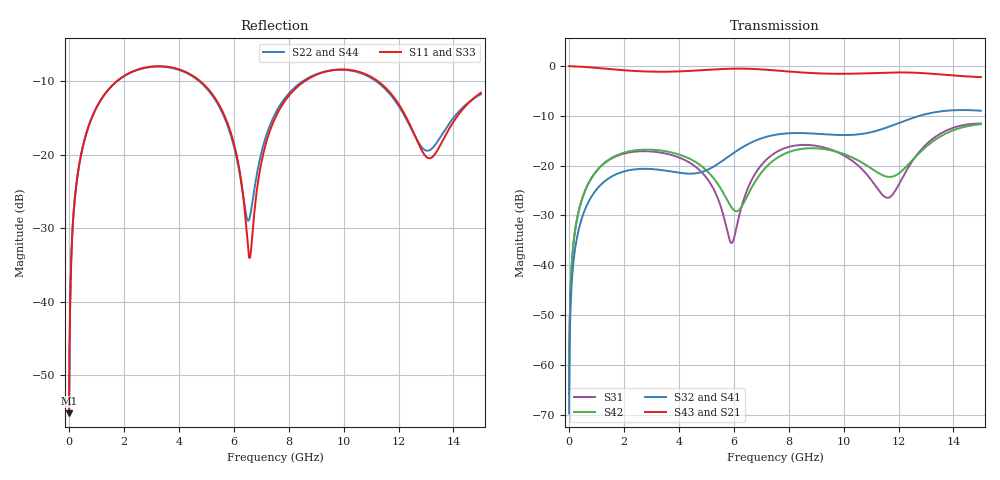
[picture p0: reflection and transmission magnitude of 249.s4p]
! Created with skrf 1.8.0 (http://scikit-rf.org).
# GHz S RI R 50.0
!freq ReS11 ImS11 ReS12 ImS12 ReS13 ImS13
! ReS14 ImS14
! ReS21 ImS21 ReS22 ImS22 ReS23 ImS23
! ReS24 ImS24
! ReS31 ImS31 ReS32 ImS32 ReS33 ImS33
! ReS34 ImS34
! ReS41 ImS41 ReS42 ImS42 ReS43 ImS43
! ReS44 ImS44
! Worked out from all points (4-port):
!   2499 points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, 5 MHz to 15 GHz, reference 50 ohm
!   strongest paths, dB at 5 MHz, 3.476 GHz, 7.19 GHz, 11.1 GHz, 15 GHz:
!     S43: 0.0, -1.1, -0.7, -1.4, -2.2
!     S21: 0.0, -1.1, -0.7, -1.4, -2.2
!     S32: -69.7, -21.0, -14.2, -13.1, -9.0
!     S41: -69.7, -21.0, -14.2, -13.2, -9.0
!     S42: -66.0, -17.1, -20.2, -20.9, -11.7
!     S31: -66.0, -17.5, -18.8, -23.5, -11.5
!   lowest |S11| = -55.2 dB at 5 MHz (marker M1), VSWR 1.00, Z = 50.1 + j0.106 ohm
!   |S11| at or under -10 dB: start of sweep to 1.738 GHz; 4.784 GHz to 8.574 GHz (3.79 GHz wide, 56.7 % of centre); 11.26 GHz to end of sweep
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0.005  0.00138 0.00105  0.9986 -0.00268  6.67e-05 0.000499  -6.52e-05 -0.00032
       0.9986 -0.00268  0.00138 0.00105  -6.52e-05 -0.00032  6.68e-05 0.000499
       6.67e-05 0.000499  -6.52e-05 -0.00032  0.00138 0.00105  0.9986 -0.00268
       -6.52e-05 -0.00032  6.68e-05 0.000499  0.9986 -0.00268  0.00138 0.00105
0.3626511  0.0224 0.0803  0.9694 -0.1933  0.00932 0.0346  -0.00806 -0.0219
           0.9694 -0.1933  0.0223 0.0803  -0.00807 -0.0219  0.00987 0.0344
           0.00932 0.0346  -0.00807 -0.0219  0.0224 0.0803  0.9694 -0.1933
           -0.00806 -0.0219  0.00987 0.0344  0.9694 -0.1933  0.0223 0.0803
1.825761  0.2693 0.1836  0.558 -0.7272  0.1122 0.0609  -0.0839 -0.00797
          0.558 -0.7272  0.2669 0.1852  -0.084 -0.0078  0.1196 0.0512
          0.1122 0.0609  -0.084 -0.0078  0.2692 0.1836  0.558 -0.7272
          -0.0839 -0.00797  0.1196 0.0512  0.558 -0.7272  0.2669 0.1851
5.120884  0.189 -0.1967  -0.6582 -0.6428  0.0515 -0.0448  -0.0476 0.0794
          -0.6582 -0.6428  0.1957 -0.1829  -0.0463 0.0807  0.0152 -0.082
          0.0515 -0.0448  -0.0463 0.0807  0.1889 -0.1957  -0.6584 -0.6429
          -0.0476 0.0794  0.0152 -0.082  -0.6584 -0.6429  0.1948 -0.183
6.477699  0.0197 -0.0209  -0.9374 -0.0824  0.0258 0.0499  -0.0122 0.1619
          -0.9374 -0.0824  0.0354 -0.0106  -0.00914 0.1621  -0.025 0.0417
          0.0258 0.0499  -0.00914 0.1621  0.0202 -0.0201  -0.9374 -0.0824
          -0.0122 0.1619  -0.025 0.0417  -0.9374 -0.0824  0.0345 -0.00968
10.45436  0.3639 -0.0749  0.1423 0.8283  0.0645 -0.0823  0.193 -0.0669
          0.1423 0.8283  0.36 -0.0745  0.1917 -0.0736  0.0592 -0.0996
          0.0645 -0.0823  0.1917 -0.0736  0.3631 -0.0739  0.1415 0.8286
          0.193 -0.0669  0.0592 -0.0996  0.1415 0.8286  0.3601 -0.0746
15  0.2514 0.0811  0.5734 -0.5218  0.24 0.1125  -0.289 -0.2026
    0.5734 -0.5218  0.2495 0.0674  -0.2992 -0.1941  0.2448 0.0911
    0.24 0.1125  -0.2992 -0.1941  0.2442 0.082  0.5753 -0.5202
    -0.289 -0.2026  0.2448 0.0911  0.5753 -0.5202  0.2549 0.0669
